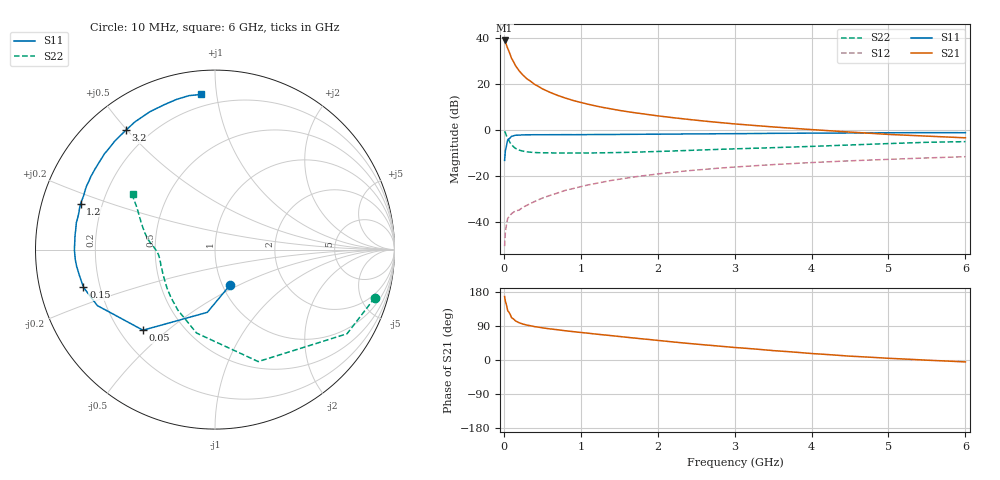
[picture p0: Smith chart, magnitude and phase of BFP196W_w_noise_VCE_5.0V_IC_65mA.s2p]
! Infineon Technologies  Discrete & RF Semiconductors
! BFP196W
! VCE =  5.0 V,  IC =  65 mA
! Common Emitter S-Parameters:  Jan 2017
# GHz  S  MA  R  50
!  f  S11  S21  S12  S22
! GHz  MAG  ANG  MAG  ANG  MAG  ANG  MAG  ANG
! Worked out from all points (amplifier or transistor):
!   77 points, 10 MHz to 6 GHz, reference 50 ohm
!   highest |S21| = 39.0 dB at 10 MHz (marker M1)
!   |S21| within 3 dB of that: start of sweep to 44.72 MHz
!   unconditionally stable (mu >= 1): 601.8 MHz to 3.296 GHz
!   at 130 MHz: K = 0.49, MSG = 32.6 dB, |S12| = -35.8 dB
!   at 2.2 GHz: K = 1.04, MAG = 10.7 dB, |S12| = -18.5 dB
!   at 6 GHz: K = 0.94, MSG = 4.1 dB, |S12| = -11.7 dB
!   lowest NFmin = 1.51 dB at 450 MHz
!   S11 on the Smith chart (normalised r, x): 10 MHz: 1.08, -0.45; 50 MHz: 0.29, -0.41; 150 MHz: 0.14, -0.14; 1.2 GHz: 0.12, +0.16; 3.2 GHz: 0.12, +0.50; 6 GHz: 0.13, +0.91
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0.01  0.216 -67.7  89.25 167.5  0.0029 76.9  0.9297 -16.8
0.02  0.3521 -97.0  83.47 155.1  0.0059 69.5  0.8724 -32.5
0.05  0.6023 -131.8  59.94 130.2  0.0117 51.5  0.6687 -68.9
0.1  0.7257 -154.5  36.36 111.7  0.0148 45.3  0.4762 -102.4
0.15  0.7627 -164.0  25.4 103.4  0.0171 44.9  0.3957 -121.5
0.2  0.7693 -169.4  19.33 98.2  0.0178 47.4  0.3615 -133.0
0.25  0.7767 -173.2  15.56 94.7  0.0206 49.2  0.3426 -141.3
0.3  0.7806 -176.0  13.01 92.1  0.0226 52.6  0.3313 -146.9
0.4  0.7834 179.9  9.838 88.0  0.0273 57.1  0.3206 -154.8
0.5  0.7825 176.7  7.876 84.9  0.0324 59.8  0.3153 -159.7
0.6  0.7839 173.9  6.585 82.1  0.0371 60.9  0.315 -163.3
0.7  0.784 171.7  5.64 79.8  0.042 63.7  0.3122 -165.9
0.9  0.7852 167.0  4.383 74.9  0.0524 63.8  0.3123 -169.6
1.1  0.789 163.0  3.61 70.6  0.0632 64.7  0.3136 -172.3
1.2  0.7911 161.1  3.31 68.3  0.068 64.0  0.3143 -173.6
1.6  0.7987 153.5  2.506 59.9  0.0888 62.1  0.3228 -177.9
2.1  0.8067 144.2  1.931 49.7  0.114 58.4  0.3417 177.5
3.1  0.8276 128.1  1.308 31.6  0.1583 49.3  0.3897 168.9
3.2  0.8299 126.6  1.269 30.0  0.1623 48.4  0.3943 168.0
4.1  0.85 114.1  0.989 15.8  0.1969 40.5  0.4421 159.2
5.1  0.8648 103.3  0.782 3.6  0.2306 32.3  0.5085 150.3
6  0.8678 95.1  0.671 -5.1  0.2599 25.3  0.5534 145.7
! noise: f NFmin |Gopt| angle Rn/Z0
0.45  1.51  0.53  -175  0.06
0.9  1.64  0.57  -170  0.07
1.9  2.49  0.7  -148  0.18
2.4  2.88  0.74  -144  0.28
